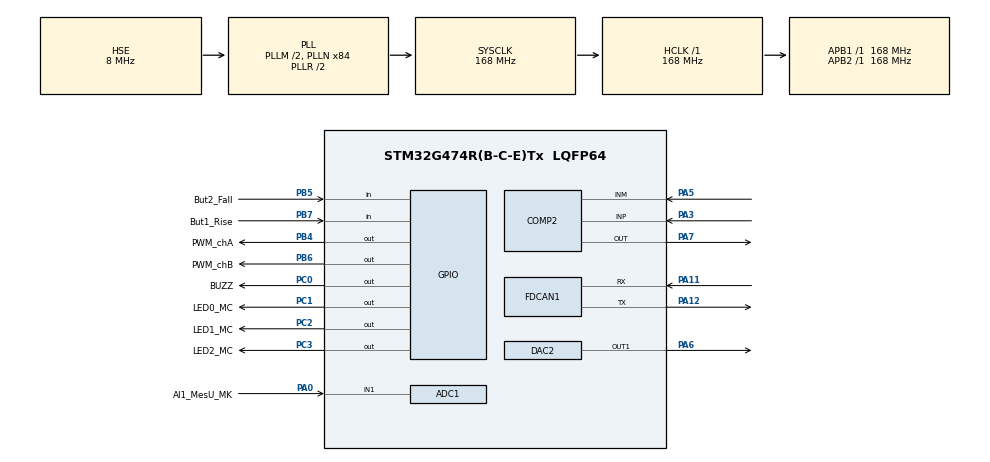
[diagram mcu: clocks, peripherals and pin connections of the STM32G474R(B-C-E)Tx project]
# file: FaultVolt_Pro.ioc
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ADC1.Channel-0\#ChannelRegularConversion=ADC_CHANNEL_1
ADC1.NbrOfConversionFlag=1
ADC1.OffsetNumber-0\#ChannelRegularConversion=ADC_OFFSET_NONE
ADC1.Rank-0\#ChannelRegularConversion=1
ADC1.SamplingTime-0\#ChannelRegularConversion=ADC_SAMPLETIME_2CYCLES_5
ADC1.master=1
FDCAN1.CalculateBaudRateNominal=2100000
FDCAN1.CalculateTimeBitNominal=476
FDCAN1.CalculateTimeQuantumNominal=95.23809523809524
Mcu.Family=STM32G4
Mcu.Name=STM32G474R(B-C-E)Tx
Mcu.Package=LQFP64
NVIC.PriorityGroup=NVIC_PRIORITYGROUP_4
NVIC.TIM1_CC_IRQn=true\:0\:0\:false\:false\:true\:true\:true\:true
PA0.GPIO_Label=AI1_MesU_MK
PA0.Mode=IN1-Single-Ended
PA0.Signal=ADC1_IN1
PA11.Mode=FDCAN_Activate
PA11.Signal=FDCAN1_RX
PA12.Mode=FDCAN_Activate
PA12.Signal=FDCAN1_TX
PA13.Mode=Serial_Wire
PA13.Signal=SYS_JTMS-SWDIO
PA14.Mode=Serial_Wire
PA14.Signal=SYS_JTCK-SWCLK
PA3.Mode=INP
PA3.Signal=COMP2_INP
PA5.Mode=INM
PA5.Signal=COMP2_INM
PA6.Signal=COMP_DAC21_group
PA7.Mode=ExternalOutput
PA7.Signal=COMP2_OUT
PB4.GPIO_Label=PWM_chA
PB4.GPIO_Speed=GPIO_SPEED_FREQ_VERY_HIGH
PB4.Signal=GPIO_Output
PB5.GPIO_Label=But2_Fall
PB5.Signal=GPIO_Input
PB6.GPIO_Label=PWM_chB
PB6.GPIO_Speed=GPIO_SPEED_FREQ_VERY_HIGH
PB6.PinState=GPIO_PIN_RESET
PB6.Signal=GPIO_Output
PB7.GPIO_Label=But1_Rise
PB7.Signal=GPIO_Input
PC0.GPIO_Label=BUZZ
PC0.Signal=GPIO_Output
PC1.GPIO_Label=LED0_MC
PC1.Signal=GPIO_Output
PC2.GPIO_Label=LED1_MC
PC2.Signal=GPIO_Output
PC3.GPIO_Label=LED2_MC
PC3.Signal=GPIO_Output
PF0-OSC_IN.Mode=HSE-External-Oscillator
PF0-OSC_IN.Signal=RCC_OSC_IN
PF1-OSC_OUT.Mode=HSE-External-Oscillator
PF1-OSC_OUT.Signal=RCC_OSC_OUT
ProjectManager.HeapSize=0x2000
ProjectManager.StackSize=0x4000
ProjectManager.TargetToolchain=Makefile
RCC.ADC12Freq_Value=168000000
RCC.ADC345Freq_Value=168000000
RCC.AHBFreq_Value=168000000
RCC.APB1Freq_Value=168000000
RCC.APB1TimFreq_Value=168000000
RCC.APB2Freq_Value=168000000
RCC.APB2TimFreq_Value=168000000
RCC.CortexFreq_Value=168000000
RCC.EXTERNAL_CLOCK_VALUE=12288000
RCC.HCLKFreq_Value=168000000
RCC.HSE_VALUE=8000000
RCC.HSI48_VALUE=48000000
RCC.HSI_VALUE=16000000
RCC.LSE_VALUE=32768
RCC.PLLM=RCC_PLLM_DIV2
RCC.PLLN=84
RCC.PLLSourceVirtual=RCC_PLLSOURCE_HSE
RCC.SYSCLKFreq_VALUE=168000000
RCC.SYSCLKSource=RCC_SYSCLKSOURCE_PLLCLK
RCC.USBFreq_Value=168000000
RCC.VCOOutputFreq_Value=336000000
SH.COMP_DAC21_group.0=DAC2_OUT1,DAC_OUT1
TIM1.AutoReloadPreload=TIM_AUTORELOAD_PRELOAD_DISABLE
TIM1.Channel-Output\ Compare1\ No\ Output=TIM_CHANNEL_1
TIM1.Channel-Output\ Compare2\ No\ Output=TIM_CHANNEL_2
TIM1.OC1Preload=ENABLE
TIM1.OC2Preload=ENABLE
TIM1.OCMode_1=TIM_OCMODE_TIMING
TIM1.PeriodNoDither=1000
TIM1.Prescaler=1
TIM1.PulseNoDither_1=500
TIM1.PulseNoDither_2=999
VP_SYS_VS_DBSignals.Mode=DisableDeadBatterySignals
VP_TIM1_VS_ClockSourceINT.Mode=Internal
VP_TIM1_VS_no_output1.Mode=Output Compare1 No Output
VP_TIM1_VS_no_output2.Mode=Output Compare2 No Output
board=custom

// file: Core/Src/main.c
/* USER CODE BEGIN Header */
/**
  ******************************************************************************
  * @file           : main.c
  * @brief          : Main program body
  ******************************************************************************
  * @attention
  *
  * Copyright (c) 2023 STMicroelectronics.
  * All rights reserved.
  *
  * This software is licensed under terms that can be found in the LICENSE file
  * in the root directory of this software component.
  * If no LICENSE file comes with this software, it is provided AS-IS.
  *
  ******************************************************************************
  */
/* USER CODE END Header */
#include "main.h"
#include "adc.h"
#include "comp.h"
#include "dac.h"
#include "fdcan.h"
#include "tim.h"
#include "gpio.h"

/* USER CODE BEGIN PV */

int16_t shift = 0;
int16_t low_shift = 1;
int16_t high_shift = 999;
uint8_t upDown = 0; // 0 - Up, 1 - Down
int16_t shift_discrete = 100;

uint8_t state_button_up = 0;
uint8_t state_button_down = 0;

/* USER CODE END PV */

void SystemClock_Config(void);

int main(void)
{

  /* MCU Configuration--------------------------------------------------------*/

  /* Reset of all peripherals, Initializes the Flash interface and the Systick. */
  HAL_Init();

  /* Configure the system clock */
  SystemClock_Config();

  /* Initialize all configured peripherals */
  MX_GPIO_Init();
  MX_ADC1_Init();
  MX_FDCAN1_Init();
  MX_COMP2_Init();
  MX_DAC2_Init();
  MX_TIM1_Init();
  /* USER CODE BEGIN 2 */

  HAL_TIM_OC_Start_IT(&htim1, TIM_CHANNEL_1);
  HAL_TIM_OC_Start_IT(&htim1, TIM_CHANNEL_2);
  TIM1->CCR1 = high_shift;
  shift = high_shift;
  /* USER CODE END 2 */

  /* Infinite loop */
  /* USER CODE BEGIN WHILE */
  while (1)
  {
    HAL_GPIO_WritePin(BUZZ_GPIO_Port, BUZZ_Pin, GPIO_PIN_RESET);
    if (HAL_GPIO_ReadPin(But2_Fall_GPIO_Port,But2_Fall_Pin) == GPIO_PIN_RESET)
    {
      if (!state_button_up)
      {
        HAL_GPIO_WritePin(BUZZ_GPIO_Port, BUZZ_Pin, GPIO_PIN_SET);
        shift_fim(But2_Fall_Pin);
      }
      state_button_up = 1;
    }
    else
    {
      state_button_up = 0;
    }

    if (HAL_GPIO_ReadPin(But1_Rise_GPIO_Port,But1_Rise_Pin) == GPIO_PIN_RESET)
    {
      if (!state_button_down)
      {
        HAL_GPIO_WritePin(BUZZ_GPIO_Port, BUZZ_Pin, GPIO_PIN_SET);
        shift_fim(But1_Rise_Pin);
      }
      state_button_down = 1;
    }
    else
    {
      state_button_down = 0;
    }
    HAL_Delay(100);

    /* USER CODE END WHILE */

  }
}

void SystemClock_Config(void)
{
  RCC_OscInitTypeDef RCC_OscInitStruct = {0};
  RCC_ClkInitTypeDef RCC_ClkInitStruct = {0};

  /** Configure the main internal regulator output voltage
  */
  HAL_PWREx_ControlVoltageScaling(PWR_REGULATOR_VOLTAGE_SCALE1_BOOST);

  /** Initializes the RCC Oscillators according to the specified parameters
  * in the RCC_OscInitTypeDef structure.
  */
  RCC_OscInitStruct.OscillatorType = RCC_OSCILLATORTYPE_HSE;
  RCC_OscInitStruct.HSEState = RCC_HSE_ON;
  RCC_OscInitStruct.PLL.PLLState = RCC_PLL_ON;
  RCC_OscInitStruct.PLL.PLLSource = RCC_PLLSOURCE_HSE;
  RCC_OscInitStruct.PLL.PLLM = RCC_PLLM_DIV2;
  RCC_OscInitStruct.PLL.PLLN = 84;
  RCC_OscInitStruct.PLL.PLLP = RCC_PLLP_DIV2;
  RCC_OscInitStruct.PLL.PLLQ = RCC_PLLQ_DIV2;
  RCC_OscInitStruct.PLL.PLLR = RCC_PLLR_DIV2;
  if (HAL_RCC_OscConfig(&RCC_OscInitStruct) != HAL_OK)
  {
    Error_Handler();
  }

  /** Initializes the CPU, AHB and APB buses clocks
  */
  RCC_ClkInitStruct.ClockType = RCC_CLOCKTYPE_HCLK|RCC_CLOCKTYPE_SYSCLK
                              |RCC_CLOCKTYPE_PCLK1|RCC_CLOCKTYPE_PCLK2;
  RCC_ClkInitStruct.SYSCLKSource = RCC_SYSCLKSOURCE_PLLCLK;
  RCC_ClkInitStruct.AHBCLKDivider = RCC_SYSCLK_DIV1;
  RCC_ClkInitStruct.APB1CLKDivider = RCC_HCLK_DIV1;
  RCC_ClkInitStruct.APB2CLKDivider = RCC_HCLK_DIV1;

  if (HAL_RCC_ClockConfig(&RCC_ClkInitStruct, FLASH_LATENCY_4) != HAL_OK)
  {
    Error_Handler();
  }
}

/* USER CODE BEGIN 4 */

void HAL_TIM_OC_DelayElapsedCallback(TIM_HandleTypeDef *htim)
{
  if (htim->Instance == TIM1)
  {
    if (htim->Channel == HAL_TIM_ACTIVE_CHANNEL_1)
    {
      HAL_GPIO_TogglePin(PWM_chA_GPIO_Port, PWM_chA_Pin);
      //HAL_GPIO_TogglePin(BUZZ_GPIO_Port, BUZZ_Pin);
    }
    else if (htim->Channel == HAL_TIM_ACTIVE_CHANNEL_2)
    {
      HAL_GPIO_TogglePin(PWM_chB_GPIO_Port, PWM_chB_Pin);
    }
  }
}

// void HAL_GPIO_EXTI_Callback(uint16_t GPIO_Pin)
// {
//   if (GPIO_Pin == But2_Fall_Pin)
//   {
//     if (shift > low_shift)
//     {
//       shift--;
//       TIM1->CCR1--;
//     }
//   }
//   else if (GPIO_Pin == But1_Rise_Pin)
//   {
//     if (shift < high_shift)
//      {
//       shift++;
//       TIM1->CCR1++;
//      }
//   }
// }

void shift_fim(uint16_t GPIO_Pin)
{

  if (GPIO_Pin == But2_Fall_Pin)
  {
    if (shift > low_shift)
    {
      shift -= shift_discrete;
      if (shift <= low_shift)
      {
        shift = low_shift;
      }
      TIM1->CCR1 = shift;
    }
  }
  else if (GPIO_Pin == But1_Rise_Pin)
  {
    if (shift < high_shift)
     {
      shift += shift_discrete;
      if (shift >= high_shift)
      {
        shift = high_shift;
      }
      TIM1->CCR1 = shift;
     }
  }
}

/*void HAL_TIM_IC_CaptureCallback(TIM_HandleTypeDef *htim)
{
  static uint16_t a = 20;
  if (htim->Instance == TIM4)
  {
  if (a++ % 10 == 0)
  {
    if (upDown == 0)
    {
      if ((shift >= -400) || (shift < 400))
      {
        TIM4->ARR += 100;
        shift += 100;
      }
      else if (shift ==400)
      {
        upDown = 1;
      }
    }
    else
    {
      if ((shift > -400) || (shift <= 400))
      {
        TIM4->ARR -= 100;
        shift -= 100;
      }
      else if (shift == 400)
      {
        upDown = 0;
      }
    }
  }
  }
}
 */

/* USER CODE END 4 */

void Error_Handler(void)
{
  __disable_irq();
  while (1)
  {
  }
}
